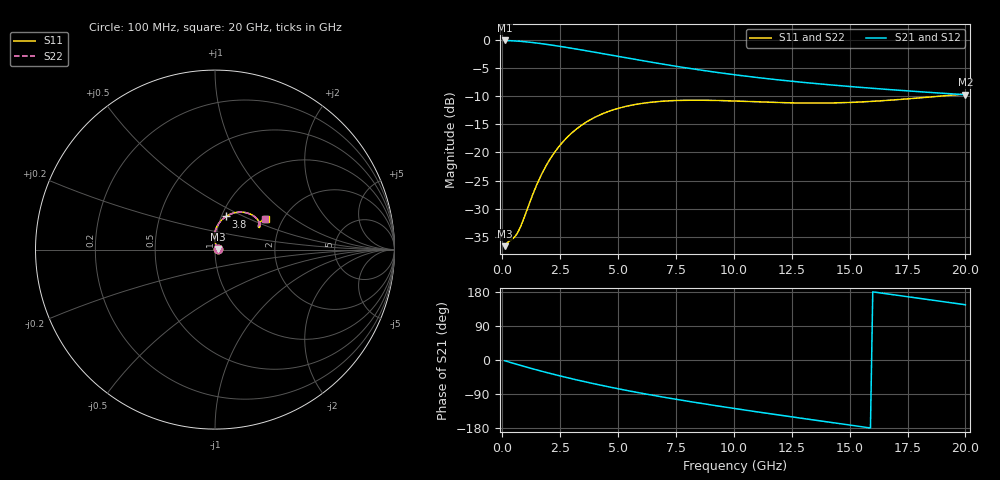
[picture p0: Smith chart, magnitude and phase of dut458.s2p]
! Touchstone file exported from HFSS 2024.1.0
!  File:  C:/UserFiles/LocalFiles/RDL_TSV_Batchsim/temp_RDL_TSV_458_1779727248.aedt
!  Generated:  12:54:12 AM May 26, 2026
!  Design:  RDL_TSV
!  Project:  temp_RDL_TSV_458_1779727248
!  Setup:  Setup1
!  Solution:  Sweep
! Variables:
!  dtsv = 8.01um
!  hbump = 3um
!  htsv = 71.72um
!  ldown = 206.88um
!  lrdl = 633.22um
!  p = 40
!  p1 = 56.9um
!  rhole = 10um
!  subl = 3153.52um
!  t = 450um
!  tdown = 4.67um
!  trdl = 2.99um
!  viad = 10um
!  wdown = 24.42um
!  wrdl = 26.64um
!  xbump = 18um
# GHz S MA R 50.000000
! Terminal data exported
! Port[1] = TM1_1_T1
! Port[2] = TM1_4_T1
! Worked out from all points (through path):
!   200 points, 100 MHz to 20 GHz, reference 50 ohm
!   highest |S21| = -0.13 dB at 100 MHz (marker M1); lowest = -9.8 dB at 20 GHz (marker M2)
!   group delay of S21, straight-line fit = 28 ps
!   lowest |S11| = -36.6 dB at 100 MHz (marker M3), VSWR 1.03, Z = 51.5 + j0.309 ohm
!   |S11| at or under -10 dB: start of sweep to 18.95 GHz
!   |S22| runs from -36.6 to -9.6 dB; largest |S21 - S12| = 7.5e-15
!   S11 on the Smith chart (normalised r, x): 100 MHz: 1.03, +0.01; 3.8 GHz: 1.05, +0.40; 20 GHz: 1.63, +0.63
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0.1  0.01471 11.8  0.9852 -1.9  0.9852 -1.9  0.01471 11.8
! Gamma 0 0 0 0
! Port Impedance 50 0 50 0
0.2  0.01568 19.8  0.9837 -3.7  0.9837 -3.7  0.01568 19.8
0.5  0.01748 42.3  0.9768 -9.2  0.9768 -9.2  0.01749 42.3
0.7  0.02002 59.4  0.9706 -12.7  0.9706 -12.7  0.02002 59.3
0.9  0.02494 73.8  0.9631 -16.2  0.9631 -16.2  0.02492 73.7
1.5  0.05224 91.9  0.9339 -26.4  0.9339 -26.4  0.05213 91.8
1.8  0.07025 92.7  0.9166 -31.3  0.9166 -31.3  0.07009 92.6
2.1  0.08963 91.2  0.8982 -36.0  0.8982 -36.0  0.08942 91.1
2.7  0.1294 85.1  0.8596 -45.1  0.8596 -45.1  0.1291 85.1
3.5  0.1787 75.3  0.8069 -56.5  0.8069 -56.5  0.1782 75.2
3.8  0.1949 71.6  0.7873 -60.5  0.7873 -60.5  0.1945 71.5
4.4  0.2233 64.5  0.7489 -68.4  0.7489 -68.4  0.2227 64.5
5.1  0.249 57.0  0.7059 -77.1  0.7059 -77.1  0.2484 57.0
5.9  0.2696 49.6  0.6602 -86.4  0.6602 -86.4  0.2689 49.6
6.8  0.2833 42.7  0.6136 -96.3  0.6136 -96.3  0.2826 42.7
8.4  0.2906 33.8  0.5441 -112.6  0.5441 -112.6  0.2899 33.8
10.1  0.2855 28.4  0.4868 -128.7  0.4868 -128.7  0.2847 28.4
11.7  0.2779 26.6  0.4453 -143.0  0.4453 -143.0  0.2771 26.6
13.4  0.2738 27.2  0.4107 -157.9  0.4107 -157.9  0.2731 27.3
15  0.2775 29.0  0.3845 -171.6  0.3845 -171.6  0.2769 29.1
16.7  0.2901 30.9  0.3612 173.8  0.3612 173.8  0.2896 31.0
20  0.3298 31.3  0.3249 145.8  0.3249 145.8  0.3295 31.4
